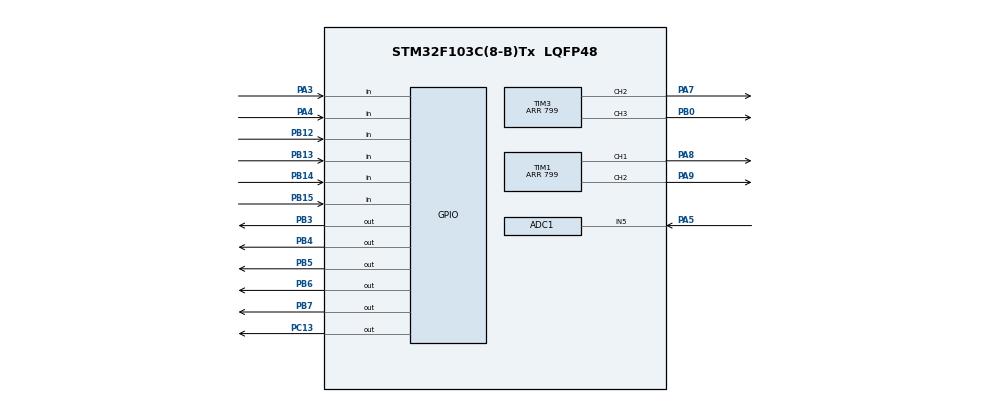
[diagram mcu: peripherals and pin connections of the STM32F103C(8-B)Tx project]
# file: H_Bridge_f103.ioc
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ADC1.Channel-0\#ChannelRegularConversion=ADC_CHANNEL_5
ADC1.ContinuousConvMode=ENABLE
ADC1.NbrOfConversionFlag=1
ADC1.Rank-0\#ChannelRegularConversion=1
ADC1.SamplingTime-0\#ChannelRegularConversion=ADC_SAMPLETIME_1CYCLE_5
ADC1.master=1
Mcu.Family=STM32F1
Mcu.Name=STM32F103C(8-B)Tx
Mcu.Package=LQFP48
NVIC.PriorityGroup=NVIC_PRIORITYGROUP_4
PA13.Mode=Serial_Wire
PA13.Signal=SYS_JTMS-SWDIO
PA14.Mode=Serial_Wire
PA14.Signal=SYS_JTCK-SWCLK
PA3.Signal=GPIO_Input
PA4.Signal=GPIO_Input
PA5.Signal=ADCx_IN5
PA7.Signal=S_TIM3_CH2
PA8.Signal=S_TIM1_CH1
PA9.Signal=S_TIM1_CH2
PB0.Signal=S_TIM3_CH3
PB12.GPIO_PuPd=GPIO_PULLUP
PB12.Signal=GPIO_Input
PB13.GPIO_PuPd=GPIO_PULLUP
PB13.Signal=GPIO_Input
PB14.GPIO_PuPd=GPIO_PULLUP
PB14.Signal=GPIO_Input
PB15.GPIO_PuPd=GPIO_PULLUP
PB15.Signal=GPIO_Input
PB3.Signal=GPIO_Output
PB4.Signal=GPIO_Output
PB5.Signal=GPIO_Output
PB6.Signal=GPIO_Output
PB7.Signal=GPIO_Output
PC13-TAMPER-RTC.Signal=GPIO_Output
PD0-OSC_IN.Mode=HSE-External-Oscillator
PD0-OSC_IN.Signal=RCC_OSC_IN
PD1-OSC_OUT.Mode=HSE-External-Oscillator
PD1-OSC_OUT.Signal=RCC_OSC_OUT
ProjectManager.HeapSize=0x200
ProjectManager.StackSize=0x400
ProjectManager.TargetToolchain=MDK-ARM V5.27
RCC.APB1Freq_Value=8000000
RCC.APB2Freq_Value=8000000
SH.ADCx_IN5.0=ADC1_IN5,IN5
SH.S_TIM1_CH1.0=TIM1_CH1,PWM Generation1 CH1
SH.S_TIM1_CH2.0=TIM1_CH2,PWM Generation2 CH2
SH.S_TIM3_CH2.0=TIM3_CH2,PWM Generation2 CH2
SH.S_TIM3_CH3.0=TIM3_CH3,PWM Generation3 CH3
TIM1.Channel-PWM\ Generation1\ CH1=TIM_CHANNEL_1
TIM1.Channel-PWM\ Generation2\ CH2=TIM_CHANNEL_2
TIM1.Period=799
TIM2.Period=0xffff-1
TIM2.Prescaler=8000-1
TIM3.Channel-PWM\ Generation2\ CH2=TIM_CHANNEL_2
TIM3.Channel-PWM\ Generation3\ CH3=TIM_CHANNEL_3
TIM3.Period=799
VP_TIM1_VS_ClockSourceINT.Mode=Internal
VP_TIM2_VS_ClockSourceINT.Mode=Internal
VP_TIM3_VS_ClockSourceINT.Mode=Internal
board=custom

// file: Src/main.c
/* USER CODE BEGIN Header */
/**
  ******************************************************************************
  * @file           : main.c
  * @brief          : EREN AKYOL
  ******************************************************************************
  * @attention
  *
  * <h2><center>&copy; Copyright (c) 2020 STMicroelectronics.
  * All rights reserved.</center></h2>
  *
  * This software component is licensed by ST under BSD 3-Clause license,
  * the "License"; You may not use this file except in compliance with the
  * License. You may obtain a copy of the License at:
  *                        opensource.org/licenses/BSD-3-Clause
  *
  ******************************************************************************
  */
/* USER CODE END Header */

#include "main.h"

/* USER CODE BEGIN PTD */
char read_keypad(void);
void read_freq (void);
float current(void);
//double computePID(double inp);

char a[1];

uint16_t hs1_pwm1 = 0;
uint16_t hs2_pwm2 = 0;
int ls1 = 0;
int ls2 = 0;

uint32_t freq,increment;
uint32_t rpm = 0;

float value = 0;
float Voltage = 0;
float Amps = 0;
float mVperAmp = 0.066;
float ACSoffset = 1.65;

uint16_t setPoint=0;

//uint32_t systick=0;
//double kp = 5;
//double ki = 0.5;
//double kd = 0.05;
//long   simdiki_zaman, onceki_zaman;
//double Gecen_zaman;
//double hata;
//double Shata;
//double input, output, setPoint=2700;
//double cumError, rateError;

//uint32_t Rrpm = 0;
/* USER CODE END PTD */

/* USER CODE BEGIN PD */
#define R1_PORT GPIOB
#define R1_PIN GPIO_PIN_7

#define R2_PORT GPIOB
#define R2_PIN GPIO_PIN_6

#define R3_PORT GPIOB
#define R3_PIN GPIO_PIN_5

#define R4_PORT GPIOB
#define R4_PIN GPIO_PIN_4

#define R5_PORT GPIOB
#define R5_PIN GPIO_PIN_3

#define C1_PORT GPIOB
#define C1_PIN GPIO_PIN_12

#define C2_PORT GPIOB
#define C2_PIN GPIO_PIN_13

#define C3_PORT GPIOB
#define C3_PIN GPIO_PIN_14

#define C4_PORT GPIOB
#define C4_PIN GPIO_PIN_15

/* USER CODE END PD */

ADC_HandleTypeDef hadc1;

TIM_HandleTypeDef htim1;
TIM_HandleTypeDef htim2;
TIM_HandleTypeDef htim3;

void SystemClock_Config(void);
static void MX_GPIO_Init(void);
static void MX_TIM1_Init(void);
static void MX_ADC1_Init(void);
static void MX_TIM2_Init(void);
static void MX_TIM3_Init(void);

int main(void)
{

  /* MCU Configuration--------------------------------------------------------*/

  /* Reset of all peripherals, Initializes the Flash interface and the Systick. */
  HAL_Init();

  /* Configure the system clock */
  SystemClock_Config();

  /* Initialize all configured peripherals */
  MX_GPIO_Init();
  MX_TIM1_Init();
  MX_ADC1_Init();
  MX_TIM2_Init();
  MX_TIM3_Init();
  /* USER CODE BEGIN 2 */
	HAL_TIM_PWM_Start(&htim1, TIM_CHANNEL_1); //A8
	HAL_TIM_PWM_Start(&htim1, TIM_CHANNEL_2); //A9
	HAL_TIM_PWM_Start(&htim3, TIM_CHANNEL_2); //A7
	HAL_TIM_PWM_Start(&htim3, TIM_CHANNEL_3); //B0
	HAL_TIM_Base_Start(&htim2);
  HAL_ADC_Start(&hadc1);

  /* USER CODE END 2 */

  /* Infinite loop */
  /* USER CODE BEGIN WHILE */
  while (1)
  {
		*a = read_keypad();

		if (*a != 0x01)
		{
		   if(*a == 'X')
			{
				ls1 = 0;
				ls2 = 1;
			}

		  if(*a == 'Y')
		  {
				ls1 = 1;
				ls2 = 0;

		  }

		  if(*a == 'U')
			{
				setPoint = setPoint + 30;
				if(setPoint >= 570)
				{
					setPoint = 570;
				}
		  }

		  if(*a == 'D')
		  {
				setPoint = setPoint - 30;

				if(setPoint <= 0)
				{
					setPoint = 0;
				}
		  }

//			if(*a == '1')
//		  {
//				kp = kp + 0.1;
//		  }
//			if(*a == '2')
//		  {
//				kp = kp - 0.1;
//		  }
//		  if(*a == '4')
//		  {
//			  ki = ki + 0.01;
//		  }
//		  if(*a == '5')
//		  {
//			  ki = ki - 0.01;
//		  }
//		  if(*a == '7')
//		  {
//			  kd = kd + 0.001;
//		  }
//			if(*a == '8')
//		  {
//			  kd = kd - 0.001;
//		  }
  	}

		if(ls1 == 0 && ls2 == 1)
		{
		HAL_GPIO_WritePin(GPIOC, GPIO_PIN_13, GPIO_PIN_SET);
		__HAL_TIM_SET_COMPARE(&htim1,TIM_CHANNEL_1,setPoint); // A8
		__HAL_TIM_SET_COMPARE(&htim3,TIM_CHANNEL_3,setPoint);	//B0
		__HAL_TIM_SET_COMPARE(&htim1,TIM_CHANNEL_2,0); // A9
		__HAL_TIM_SET_COMPARE(&htim3,TIM_CHANNEL_2,0);	//A7
//		HAL_Delay(3);
//		read_freq();
//		HAL_Delay(3);
//		current();
//    HAL_Delay(3);
//		Ssetpoint = setPoint * 11.45;
//		if(hs1_pwm1 <= 0)
//			{
//				hs1_pwm1 = 0;
//			}
//		if(hs1_pwm1 >= 400)
//			{
//				hs1_pwm1 = 400;
//			}
		}
//
		HAL_Delay(10);

		if(ls1 == 1 && ls2 == 0)
		{
	  HAL_GPIO_WritePin(GPIOC, GPIO_PIN_13, GPIO_PIN_RESET);
		__HAL_TIM_SET_COMPARE(&htim1,TIM_CHANNEL_2,setPoint); // A9
		__HAL_TIM_SET_COMPARE(&htim3,TIM_CHANNEL_2,setPoint);	//A7
		__HAL_TIM_SET_COMPARE(&htim1,TIM_CHANNEL_1,0); // A8
		__HAL_TIM_SET_COMPARE(&htim3,TIM_CHANNEL_3,0);	//B0
//	  HAL_Delay(3);
//		read_freq();
//		HAL_Delay(3);
//		current();
//		HAL_Delay(3);
//		hs2_pwm2 = computePID(rpm);
		}

    /* USER CODE END WHILE */

  }
}

void SystemClock_Config(void)
{
  RCC_OscInitTypeDef RCC_OscInitStruct = {0};
  RCC_ClkInitTypeDef RCC_ClkInitStruct = {0};
  RCC_PeriphCLKInitTypeDef PeriphClkInit = {0};

  /** Initializes the CPU, AHB and APB busses clocks
  */
  RCC_OscInitStruct.OscillatorType = RCC_OSCILLATORTYPE_HSI;
  RCC_OscInitStruct.HSIState = RCC_HSI_ON;
  RCC_OscInitStruct.HSICalibrationValue = RCC_HSICALIBRATION_DEFAULT;
  RCC_OscInitStruct.PLL.PLLState = RCC_PLL_NONE;
  if (HAL_RCC_OscConfig(&RCC_OscInitStruct) != HAL_OK)
  {
    Error_Handler();
  }
  /** Initializes the CPU, AHB and APB busses clocks
  */
  RCC_ClkInitStruct.ClockType = RCC_CLOCKTYPE_HCLK|RCC_CLOCKTYPE_SYSCLK
                              |RCC_CLOCKTYPE_PCLK1|RCC_CLOCKTYPE_PCLK2;
  RCC_ClkInitStruct.SYSCLKSource = RCC_SYSCLKSOURCE_HSI;
  RCC_ClkInitStruct.AHBCLKDivider = RCC_SYSCLK_DIV1;
  RCC_ClkInitStruct.APB1CLKDivider = RCC_HCLK_DIV1;
  RCC_ClkInitStruct.APB2CLKDivider = RCC_HCLK_DIV1;

  if (HAL_RCC_ClockConfig(&RCC_ClkInitStruct, FLASH_LATENCY_0) != HAL_OK)
  {
    Error_Handler();
  }
  PeriphClkInit.PeriphClockSelection = RCC_PERIPHCLK_ADC;
  PeriphClkInit.AdcClockSelection = RCC_ADCPCLK2_DIV2;
  if (HAL_RCCEx_PeriphCLKConfig(&PeriphClkInit) != HAL_OK)
  {
    Error_Handler();
  }
}

static void MX_ADC1_Init(void)
{

  ADC_ChannelConfTypeDef sConfig = {0};

  /** Common config
  */
  hadc1.Instance = ADC1;
  hadc1.Init.ScanConvMode = ADC_SCAN_DISABLE;
  hadc1.Init.ContinuousConvMode = ENABLE;
  hadc1.Init.DiscontinuousConvMode = DISABLE;
  hadc1.Init.ExternalTrigConv = ADC_SOFTWARE_START;
  hadc1.Init.DataAlign = ADC_DATAALIGN_RIGHT;
  hadc1.Init.NbrOfConversion = 1;
  if (HAL_ADC_Init(&hadc1) != HAL_OK)
  {
    Error_Handler();
  }
  /** Configure Regular Channel
  */
  sConfig.Channel = ADC_CHANNEL_5;
  sConfig.Rank = ADC_REGULAR_RANK_1;
  sConfig.SamplingTime = ADC_SAMPLETIME_1CYCLE_5;
  if (HAL_ADC_ConfigChannel(&hadc1, &sConfig) != HAL_OK)
  {
    Error_Handler();
  }

}

static void MX_TIM1_Init(void)
{

  TIM_ClockConfigTypeDef sClockSourceConfig = {0};
  TIM_MasterConfigTypeDef sMasterConfig = {0};
  TIM_OC_InitTypeDef sConfigOC = {0};
  TIM_BreakDeadTimeConfigTypeDef sBreakDeadTimeConfig = {0};

  htim1.Instance = TIM1;
  htim1.Init.Prescaler = 0;
  htim1.Init.CounterMode = TIM_COUNTERMODE_UP;
  htim1.Init.Period = 799;
  htim1.Init.ClockDivision = TIM_CLOCKDIVISION_DIV1;
  htim1.Init.RepetitionCounter = 0;
  htim1.Init.AutoReloadPreload = TIM_AUTORELOAD_PRELOAD_DISABLE;
  if (HAL_TIM_Base_Init(&htim1) != HAL_OK)
  {
    Error_Handler();
  }
  sClockSourceConfig.ClockSource = TIM_CLOCKSOURCE_INTERNAL;
  if (HAL_TIM_ConfigClockSource(&htim1, &sClockSourceConfig) != HAL_OK)
  {
    Error_Handler();
  }
  if (HAL_TIM_PWM_Init(&htim1) != HAL_OK)
  {
    Error_Handler();
  }
  sMasterConfig.MasterOutputTrigger = TIM_TRGO_RESET;
  sMasterConfig.MasterSlaveMode = TIM_MASTERSLAVEMODE_DISABLE;
  if (HAL_TIMEx_MasterConfigSynchronization(&htim1, &sMasterConfig) != HAL_OK)
  {
    Error_Handler();
  }
  sConfigOC.OCMode = TIM_OCMODE_PWM1;
  sConfigOC.Pulse = 0;
  sConfigOC.OCPolarity = TIM_OCPOLARITY_HIGH;
  sConfigOC.OCNPolarity = TIM_OCNPOLARITY_HIGH;
  sConfigOC.OCFastMode = TIM_OCFAST_DISABLE;
  sConfigOC.OCIdleState = TIM_OCIDLESTATE_RESET;
  sConfigOC.OCNIdleState = TIM_OCNIDLESTATE_RESET;
  if (HAL_TIM_PWM_ConfigChannel(&htim1, &sConfigOC, TIM_CHANNEL_1) != HAL_OK)
  {
    Error_Handler();
  }
  if (HAL_TIM_PWM_ConfigChannel(&htim1, &sConfigOC, TIM_CHANNEL_2) != HAL_OK)
  {
    Error_Handler();
  }
  sBreakDeadTimeConfig.OffStateRunMode = TIM_OSSR_DISABLE;
  sBreakDeadTimeConfig.OffStateIDLEMode = TIM_OSSI_DISABLE;
  sBreakDeadTimeConfig.LockLevel = TIM_LOCKLEVEL_OFF;
  sBreakDeadTimeConfig.DeadTime = 0;
  sBreakDeadTimeConfig.BreakState = TIM_BREAK_DISABLE;
  sBreakDeadTimeConfig.BreakPolarity = TIM_BREAKPOLARITY_HIGH;
  sBreakDeadTimeConfig.AutomaticOutput = TIM_AUTOMATICOUTPUT_DISABLE;
  if (HAL_TIMEx_ConfigBreakDeadTime(&htim1, &sBreakDeadTimeConfig) != HAL_OK)
  {
    Error_Handler();
  }
  HAL_TIM_MspPostInit(&htim1);

}

static void MX_TIM2_Init(void)
{

  TIM_ClockConfigTypeDef sClockSourceConfig = {0};
  TIM_MasterConfigTypeDef sMasterConfig = {0};

  htim2.Instance = TIM2;
  htim2.Init.Prescaler = 8000-1;
  htim2.Init.CounterMode = TIM_COUNTERMODE_UP;
  htim2.Init.Period = 0xffff-1;
  htim2.Init.ClockDivision = TIM_CLOCKDIVISION_DIV1;
  htim2.Init.AutoReloadPreload = TIM_AUTORELOAD_PRELOAD_DISABLE;
  if (HAL_TIM_Base_Init(&htim2) != HAL_OK)
  {
    Error_Handler();
  }
  sClockSourceConfig.ClockSource = TIM_CLOCKSOURCE_INTERNAL;
  if (HAL_TIM_ConfigClockSource(&htim2, &sClockSourceConfig) != HAL_OK)
  {
    Error_Handler();
  }
  sMasterConfig.MasterOutputTrigger = TIM_TRGO_RESET;
  sMasterConfig.MasterSlaveMode = TIM_MASTERSLAVEMODE_DISABLE;
  if (HAL_TIMEx_MasterConfigSynchronization(&htim2, &sMasterConfig) != HAL_OK)
  {
    Error_Handler();
  }

}

static void MX_TIM3_Init(void)
{

  TIM_ClockConfigTypeDef sClockSourceConfig = {0};
  TIM_MasterConfigTypeDef sMasterConfig = {0};
  TIM_OC_InitTypeDef sConfigOC = {0};

  htim3.Instance = TIM3;
  htim3.Init.Prescaler = 0;
  htim3.Init.CounterMode = TIM_COUNTERMODE_UP;
  htim3.Init.Period = 799;
  htim3.Init.ClockDivision = TIM_CLOCKDIVISION_DIV1;
  htim3.Init.AutoReloadPreload = TIM_AUTORELOAD_PRELOAD_DISABLE;
  if (HAL_TIM_Base_Init(&htim3) != HAL_OK)
  {
    Error_Handler();
  }
  sClockSourceConfig.ClockSource = TIM_CLOCKSOURCE_INTERNAL;
  if (HAL_TIM_ConfigClockSource(&htim3, &sClockSourceConfig) != HAL_OK)
  {
    Error_Handler();
  }
  if (HAL_TIM_PWM_Init(&htim3) != HAL_OK)
  {
    Error_Handler();
  }
  sMasterConfig.MasterOutputTrigger = TIM_TRGO_RESET;
  sMasterConfig.MasterSlaveMode = TIM_MASTERSLAVEMODE_DISABLE;
  if (HAL_TIMEx_MasterConfigSynchronization(&htim3, &sMasterConfig) != HAL_OK)
  {
    Error_Handler();
  }
  sConfigOC.OCMode = TIM_OCMODE_PWM1;
  sConfigOC.Pulse = 0;
  sConfigOC.OCPolarity = TIM_OCPOLARITY_HIGH;
  sConfigOC.OCFastMode = TIM_OCFAST_DISABLE;
  if (HAL_TIM_PWM_ConfigChannel(&htim3, &sConfigOC, TIM_CHANNEL_2) != HAL_OK)
  {
    Error_Handler();
  }
  if (HAL_TIM_PWM_ConfigChannel(&htim3, &sConfigOC, TIM_CHANNEL_3) != HAL_OK)
  {
    Error_Handler();
  }
  HAL_TIM_MspPostInit(&htim3);

}

static void MX_GPIO_Init(void)
{
  GPIO_InitTypeDef GPIO_InitStruct = {0};

  /* GPIO Ports Clock Enable */
  __HAL_RCC_GPIOC_CLK_ENABLE();
  __HAL_RCC_GPIOD_CLK_ENABLE();
  __HAL_RCC_GPIOA_CLK_ENABLE();
  __HAL_RCC_GPIOB_CLK_ENABLE();

  /*Configure GPIO pin Output Level */
  HAL_GPIO_WritePin(GPIOC, GPIO_PIN_13, GPIO_PIN_RESET);

  /*Configure GPIO pin Output Level */
  HAL_GPIO_WritePin(GPIOB, GPIO_PIN_3|GPIO_PIN_4|GPIO_PIN_5|GPIO_PIN_6
                          |GPIO_PIN_7, GPIO_PIN_RESET);

  /*Configure GPIO pin : PC13 */
  GPIO_InitStruct.Pin = GPIO_PIN_13;
  GPIO_InitStruct.Mode = GPIO_MODE_OUTPUT_PP;
  GPIO_InitStruct.Pull = GPIO_NOPULL;
  GPIO_InitStruct.Speed = GPIO_SPEED_FREQ_LOW;
  HAL_GPIO_Init(GPIOC, &GPIO_InitStruct);

  /*Configure GPIO pins : PA3 PA4 */
  GPIO_InitStruct.Pin = GPIO_PIN_3|GPIO_PIN_4;
  GPIO_InitStruct.Mode = GPIO_MODE_INPUT;
  GPIO_InitStruct.Pull = GPIO_NOPULL;
  HAL_GPIO_Init(GPIOA, &GPIO_InitStruct);

  /*Configure GPIO pins : PB12 PB13 PB14 PB15 */
  GPIO_InitStruct.Pin = GPIO_PIN_12|GPIO_PIN_13|GPIO_PIN_14|GPIO_PIN_15;
  GPIO_InitStruct.Mode = GPIO_MODE_INPUT;
  GPIO_InitStruct.Pull = GPIO_PULLUP;
  HAL_GPIO_Init(GPIOB, &GPIO_InitStruct);

  /*Configure GPIO pins : PB3 PB4 PB5 PB6
                           PB7 */
  GPIO_InitStruct.Pin = GPIO_PIN_3|GPIO_PIN_4|GPIO_PIN_5|GPIO_PIN_6
                          |GPIO_PIN_7;
  GPIO_InitStruct.Mode = GPIO_MODE_OUTPUT_PP;
  GPIO_InitStruct.Pull = GPIO_NOPULL;
  GPIO_InitStruct.Speed = GPIO_SPEED_FREQ_LOW;
  HAL_GPIO_Init(GPIOB, &GPIO_InitStruct);

}

/* USER CODE BEGIN 4 */
char read_keypad(void)
{
	/* Make ROW 1 LOW and all other ROWs HIGH */
	HAL_GPIO_WritePin (R1_PORT, R1_PIN, GPIO_PIN_RESET);  //Pull the R1 low
	HAL_GPIO_WritePin (R2_PORT, R2_PIN, GPIO_PIN_SET);  // Pull the R2 High
	HAL_GPIO_WritePin (R3_PORT, R3_PIN, GPIO_PIN_SET);  // Pull the R3 High
	HAL_GPIO_WritePin (R4_PORT, R4_PIN, GPIO_PIN_SET);  // Pull the R4 High
	HAL_GPIO_WritePin (R5_PORT, R5_PIN, GPIO_PIN_SET);  // Pull the R5 High

	if (!(HAL_GPIO_ReadPin (C1_PORT, C1_PIN)))   // if the Col 1 is low
	{
		while (!(HAL_GPIO_ReadPin (C1_PORT, C1_PIN)));   // wait till the button is pressed
		return 'X'; //F1 BUTTON
	}

	if (!(HAL_GPIO_ReadPin (C2_PORT, C2_PIN)))   // if the Col 2 is low
	{
		while (!(HAL_GPIO_ReadPin (C2_PORT, C2_PIN)));   // wait till the button is pressed
		return  'Y'; //F2 BUTTON
	}

	if (!(HAL_GPIO_ReadPin (C3_PORT, C3_PIN)))   // if the Col 3 is low
	{
		while (!(HAL_GPIO_ReadPin (C3_PORT, C3_PIN)));   // wait till the button is pressed
		return '#';
	}

	if (!(HAL_GPIO_ReadPin (C4_PORT, C4_PIN)))   // if the Col 4 is low
	{
		while (!(HAL_GPIO_ReadPin (C4_PORT, C4_PIN)));   // wait till the button is pressed
		return '*';
	}

	/* Make ROW 2 LOW and all other ROWs HIGH */
	HAL_GPIO_WritePin (R1_PORT, R1_PIN, GPIO_PIN_SET);  //Pull the R1 low
	HAL_GPIO_WritePin (R2_PORT, R2_PIN, GPIO_PIN_RESET);  // Pull the R2 High
	HAL_GPIO_WritePin (R3_PORT, R3_PIN, GPIO_PIN_SET);  // Pull the R3 High
	HAL_GPIO_WritePin (R4_PORT, R4_PIN, GPIO_PIN_SET);  // Pull the R4 High
	HAL_GPIO_WritePin (R5_PORT, R5_PIN, GPIO_PIN_SET);  // Pull the R5 High
	if (!(HAL_GPIO_ReadPin (C1_PORT, C1_PIN)))   // if the Col 1 is low
	{
		while (!(HAL_GPIO_ReadPin (C1_PORT, C1_PIN)));   // wait till the button is pressed
		return '1';
	}

	if (!(HAL_GPIO_ReadPin (C2_PORT, C2_PIN)))   // if the Col 2 is low
	{
		while (!(HAL_GPIO_ReadPin (C2_PORT, C2_PIN)));   // wait till the button is pressed
		return '2';
	}

	if (!(HAL_GPIO_ReadPin (C3_PORT, C3_PIN)))   // if the Col 3 is low
	{
		while (!(HAL_GPIO_ReadPin (C3_PORT, C3_PIN)));   // wait till the button is pressed
		return '3';
	}

	if (!(HAL_GPIO_ReadPin (C4_PORT, C4_PIN)))   // if the Col 4 is low
	{
		while (!(HAL_GPIO_ReadPin (C4_PORT, C4_PIN)));   // wait till the button is pressed
		return 'U';
	}

	/* Make ROW 3 LOW and all other ROWs HIGH */
	HAL_GPIO_WritePin (R1_PORT, R1_PIN, GPIO_PIN_SET);  //Pull the R1 low
	HAL_GPIO_WritePin (R2_PORT, R2_PIN, GPIO_PIN_SET);  // Pull the R2 High
	HAL_GPIO_WritePin (R3_PORT, R3_PIN, GPIO_PIN_RESET);  // Pull the R3 High
	HAL_GPIO_WritePin (R4_PORT, R4_PIN, GPIO_PIN_SET);  // Pull the R4 High
	HAL_GPIO_WritePin (R5_PORT, R5_PIN, GPIO_PIN_SET);  // Pull the R5 High
	if (!(HAL_GPIO_ReadPin (C1_PORT, C1_PIN)))   // if the Col 1 is low
	{
		while (!(HAL_GPIO_ReadPin (C1_PORT, C1_PIN)));   // wait till the button is pressed
		return '4';
	}

	if (!(HAL_GPIO_ReadPin (C2_PORT, C2_PIN)))   // if the Col 2 is low
	{
		while (!(HAL_GPIO_ReadPin (C2_PORT, C2_PIN)));   // wait till the button is pressed
		return '5';
	}

	if (!(HAL_GPIO_ReadPin (C3_PORT, C3_PIN)))   // if the Col 3 is low
	{
		while (!(HAL_GPIO_ReadPin (C3_PORT, C3_PIN)));   // wait till the button is pressed
		return '6';
	}

	if (!(HAL_GPIO_ReadPin (C4_PORT, C4_PIN)))   // if the Col 4 is low
	{
		while (!(HAL_GPIO_ReadPin (C4_PORT, C4_PIN)));   // wait till the button is pressed
		return 'D';
	}

	/* Make ROW 4 LOW and all other ROWs HIGH */
	HAL_GPIO_WritePin (R1_PORT, R1_PIN, GPIO_PIN_SET);  //Pull the R1 low
	HAL_GPIO_WritePin (R2_PORT, R2_PIN, GPIO_PIN_SET);  // Pull the R2 High
	HAL_GPIO_WritePin (R3_PORT, R3_PIN, GPIO_PIN_SET);  // Pull the R3 High
	HAL_GPIO_WritePin (R4_PORT, R4_PIN, GPIO_PIN_RESET);  // Pull the R4 High
	HAL_GPIO_WritePin (R5_PORT, R5_PIN, GPIO_PIN_SET);  // Pull the R5 High
	if (!(HAL_GPIO_ReadPin (C1_PORT, C1_PIN)))   // if the Col 1 is low
	{
		while (!(HAL_GPIO_ReadPin (C1_PORT, C1_PIN)));   // wait till the button is pressed
		return '7';
	}

	if (!(HAL_GPIO_ReadPin (C2_PORT, C2_PIN)))   // if the Col 2 is low
	{
		while (!(HAL_GPIO_ReadPin (C2_PORT, C2_PIN)));   // wait till the button is pressed
		return '8';
	}

	if (!(HAL_GPIO_ReadPin (C3_PORT, C3_PIN)))   // if the Col 3 is low
	{
		while (!(HAL_GPIO_ReadPin (C3_PORT, C3_PIN)));   // wait till the button is pressed
		return '9';
	}

	if (!(HAL_GPIO_ReadPin (C4_PORT, C4_PIN)))   // if the Col 4 is low
	{
		while (!(HAL_GPIO_ReadPin (C4_PORT, C4_PIN)));   // wait till the button is pressed
		return 'S';
	}

	/* Make ROW 5 LOW and all other ROWs HIGH */
	HAL_GPIO_WritePin (R1_PORT, R1_PIN, GPIO_PIN_SET);  //Pull the R1 low
	HAL_GPIO_WritePin (R2_PORT, R2_PIN, GPIO_PIN_SET);  // Pull the R2 High
	HAL_GPIO_WritePin (R3_PORT, R3_PIN, GPIO_PIN_SET);  // Pull the R3 High
	HAL_GPIO_WritePin (R4_PORT, R4_PIN, GPIO_PIN_SET);  // Pull the R4 High
	HAL_GPIO_WritePin (R5_PORT, R5_PIN, GPIO_PIN_RESET);  // Pull the R5 High
	if (!(HAL_GPIO_ReadPin (C1_PORT, C1_PIN)))   // if the Col 1 is low
	{
		while (!(HAL_GPIO_ReadPin (C1_PORT, C1_PIN)));   // wait till the button is pressed
		return 'L';
	}

	if (!(HAL_GPIO_ReadPin (C2_PORT, C2_PIN)))   // if the Col 2 is low
	{
		while (!(HAL_GPIO_ReadPin (C2_PORT, C2_PIN)));   // wait till the button is pressed
		return '0';
	}

	if (!(HAL_GPIO_ReadPin (C3_PORT, C3_PIN)))   // if the Col 3 is low
	{
		while (!(HAL_GPIO_ReadPin (C3_PORT, C3_PIN)));   // wait till the button is pressed
		return 'R';
	}

	if (!(HAL_GPIO_ReadPin (C4_PORT, C4_PIN)))   // if the Col 4 is low
	{
		while (!(HAL_GPIO_ReadPin (C4_PORT, C4_PIN)));   // wait till the button is pressed
		return 'N';
	}

}

void read_freq (void)
{
	htim2.Instance->CNT = 0;  // set the count to 0

	while ((htim2.Instance->CNT) < 1000)  // while the count is less than 1000 ms
	{
		while (!(HAL_GPIO_ReadPin (GPIOA, GPIO_PIN_3)));  // wait for the pin to go high

		while ((HAL_GPIO_ReadPin (GPIOA, GPIO_PIN_3)));  // wait for the pin to go low

		increment++;  // increment the variable
	}

	freq = increment;  // freq = number of times pin goes high and low in  second
	freq = freq/20;
	rpm = freq * 60;

	increment = 0;
}
float current(void)
{
	value = HAL_ADC_GetValue(&hadc1);
  Voltage =  Voltage + (0.000878 * value); // (3.3 V / 4096 (Analog) = 0.0008)
	Amps = ((Voltage - ACSoffset) / mVperAmp); // AKIM HESAPLA
  Voltage = 0;

	return Amps;
}

//double computePID(double inp){
//        simdiki_zaman = HAL_GetTick()/1000;                //simdiki zamani aldik
//        Gecen_zaman = (simdiki_zaman - onceki_zaman);        //gecen zamani belirledik
//        hata = setPoint - inp;                                // hatanin farkini aldik
//        cumError += hata * Gecen_zaman;                // integral hesaplamasini yaptirdik
//        rateError = (hata - Shata)/Gecen_zaman;   // türevsel hesaplama yaptirdik
//        double output = kp*hata + ki*cumError + rateError *kd ;                //PID cikisimizi aldik
//        Shata = hata;                                //hata oranizimizi eski hatamiza verdik
//        onceki_zaman = simdiki_zaman;                        //gecen zamanida diger degiskene verdik

//        return output;                                        //fonksiyon cikisina dondurduk
//}

/* USER CODE END 4 */

void Error_Handler(void)
{
}

/************************ (C) COPYRIGHT STMicroelectronics *****END OF FILE****/
